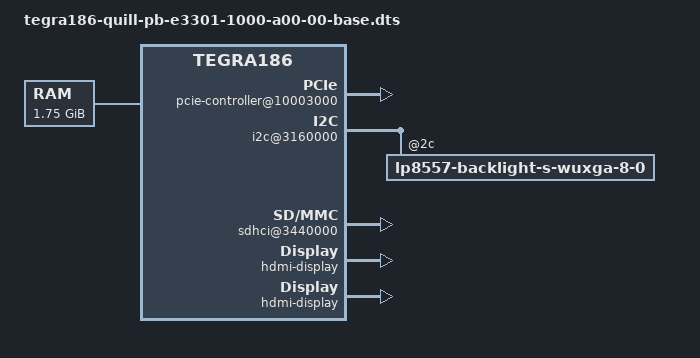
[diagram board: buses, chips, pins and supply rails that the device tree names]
/*
 * tegra186-quill-e3301-1000-a00-00-base.dts Quill-PB A00 Board
 *
 * Copyright (c) 2015-2016, NVIDIA CORPORATION.  All rights reserved.
 *
 * This program is free software; you can redistribute it and/or modify
 * it under the terms of the GNU General Public License as published by
 * the Free Software Foundation; version 2 of the License.
 *
 * This program is distributed in the hope that it will be useful, but WITHOUT
 * ANY WARRANTY; without even the implied warranty of MERCHANTABILITY or
 * FITNESS FOR A PARTICULAR PURPOSE.  See the GNU General Public License for
 * more details.
 */

#include "tegra186-platforms/tegra186-quill-common-e3301-0000-a00.dtsi"
#include "tegra186-platforms/tegra186-quill-pb-power-tree-e3301-1000-a00-00.dtsi"
#include "tegra186-platforms/tegra186-quill-camera-modules.dtsi"
#include "tegra186-modules/tegra186-cvb-e3320-1000-a00.dtsi"
#include "tegra186-modules/tegra186-super-module-e2614-p2597-1000-a00.dtsi"
#include "tegra186-plugin-manager/tegra186-quill-e3301-0000-a00-plugin-manager.dtsi"
#include "tegra186-plugin-manager/tegra186-quill-display-plugin-manager.dtsi"
#include "tegra186-plugin-manager/tegra186-quill-camera-plugin-manager.dtsi"
#include "tegra186-prod/tegra186-priv-quill-pb-e3301-1000-a00-prod.dtsi"
#include "tegra186-platforms/tegra186-quill-comms.dtsi"

/ {
	nvidia,dtsfilename = __FILE__;
	nvidia,boardids = "3301:1000:A0";
	nvidia,proc-boardid = "3301:1000:A0";

	chosen {
		board-has-eeprom;
		bootargs ="console=ttyS0,115200";
		stdout-path = &uarta;
	};

	firmware {
		android {
			compatible = "android,firmware";
			hardware = "quill-pb";
		};
	};

	memory@80000000 {
		device_type = "memory";
		reg = <0x0 0x80000000 0x0 0x70000000>;
	};

	pinctrl@3520000 {
		status = "okay";
		pinctrl-0 = <&tegra_xusb_padctl_pinmux_default>;
		pinctrl-names = "default";
		tegra_xusb_padctl_pinmux_default: pinmux {
			usb2-micro-AB {
				nvidia,lanes = "otg-0";
				nvidia,function = "xusb";
				nvidia,port-cap = <TEGRA_PADCTL_PORT_OTG_CAP>;
			};
			usb3-micro-AB {
				nvidia,lanes = "usb3-1";
				nvidia,port-cap = <TEGRA_PADCTL_PORT_OTG_CAP>;
			};
			usb2-std-A-port2 {
				nvidia,lanes = "otg-2";
				nvidia,function = "xusb";
				nvidia,port-cap = <TEGRA_PADCTL_PORT_HOST_ONLY>;
			};
			usb3-std-A-port2 {
				nvidia,lanes = "usb3-2";
				nvidia,port-cap = <TEGRA_PADCTL_PORT_HOST_ONLY>;
			};
			hsic {
				nvidia,lanes = "hsic-0";
				nvidia,function = "hsic";
			};
		};
	};
	pcie-controller@10003000 {
		nvidia,lane-map = <0x211>;
		status = "okay";
		pci@1,0 {
			status = "okay";
		};
		pci@2,0 {
			status = "okay";
		};
		pci@3,0 {
			status = "okay";
		};
	};

	i2c@3160000 {
		lp8557-backlight-s-wuxga-8-0@2c {
			status = "okay";
		};
	};

	sdhci@3440000 {
		status = "okay";
	};

	gpio@2200000 {
		wlan-default {
			gpio-input = <
				TEGRA_GPIO(C, 0)
				>;
			gpio-output-high = <
				TEGRA_GPIO(B, 6)
				>;
		};
	};

	bcmdhd_wlan {
		sdhci-host = <&sdmmc3>;
		pwr-retry-cnt = <0>;
		interrupts = <TEGRA_GPIO(C, 0) 0x14>;
		wlan-pwr-gpio = <>;
		status = "okay";
	};

	host1x {
		sor {
			status = "okay";
			hdmi-display {
				status = "okay";
				nvidia,audio-switch-name = "hdmi_audio";
				disp-default-out {
					nvidia,out-flags = <TEGRA_DC_OUT_HOTPLUG_HIGH>;
				};
			};
			dp-display {
				status = "disabled";
			};
		};
		sor1 {
			status = "okay";
			nvidia,audio-switch-name = "hdmi_audio";
			hdmi-display {
				status = "okay";
				disp-default-out {
					nvidia,out-flags = <TEGRA_DC_OUT_HOTPLUG_HIGH>;
				};
			};
			dp-display {
				status = "disabled";
			};
		};
	};
};
